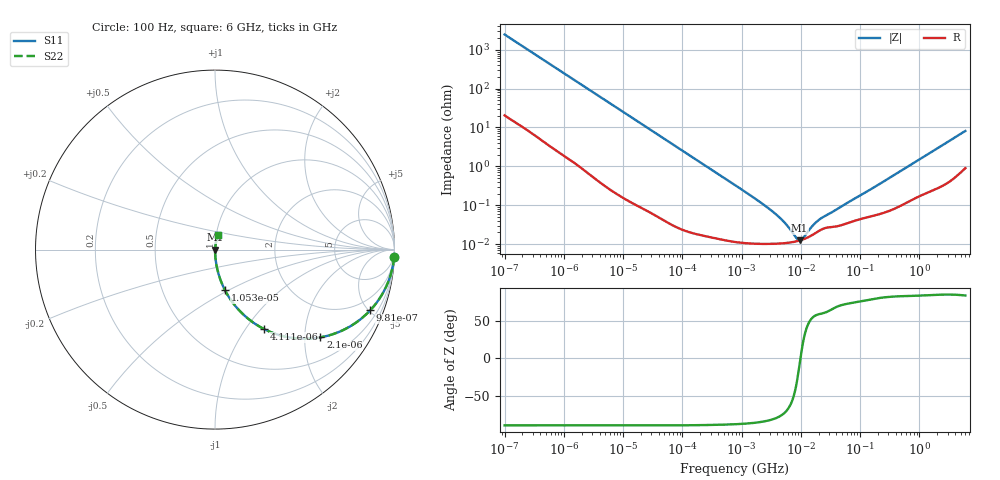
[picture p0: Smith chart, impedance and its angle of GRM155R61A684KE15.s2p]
!Murata Part Number: GRM155R61A684KE15
!These Parameters are Measured in Series Mode Connection
!Data Generated on Mar 30, 2021
!  o--ll--o
!Port1  Port2
!  o------o
!Operation Temp=25[degC], DC Bias Voltage=0[V]
!Freq. Start=100[Hz] Stop=6[GHz] 401[Steps]
# Hz S RI R 50
!Freq.(Hz) S11(Real) S11(Imag) S21(Real) S21(Imag) S12(Real) S12(Imag) S22(Real) S22(Imag)
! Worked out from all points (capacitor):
!   401 points, 100 Hz to 6 GHz, reference 50 ohm
!   read as one part in series: C = 643 nF near 109 Hz
!   lowest |Z| = 12.5 mohm at 9.506 MHz (marker M1)
!   series resonance near 9.874 MHz, so ESL is about 400 pH
!   S11 on the Smith chart (normalised r, x): 100 Hz: 1, -49; 981 Hz: 1.04, -5.09; 2.1 kHz: 1.02, -2.39; 4.111 kHz: 1.01, -1.22; 10.53 kHz: 1.00, -0.48; 6 GHz: 1.02, +0.16
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100  0.998 -0.0404  0.00197 0.0404  0.00197 0.0404  0.998 -0.0404
335  0.9811 -0.132  0.0189 0.132  0.0189 0.132  0.9811 -0.132
600  0.9438 -0.2265  0.0562 0.2265  0.0562 0.2265  0.9438 -0.2265
981  0.8646 -0.3384  0.1354 0.3384  0.1354 0.3384  0.8646 -0.3384
2008  0.6086 -0.4845  0.3914 0.4845  0.3914 0.4845  0.6086 -0.4845
2100  0.5873 -0.4888  0.4127 0.4888  0.4127 0.4888  0.5873 -0.4888
2873  0.4337 -0.4923  0.5663 0.4923  0.5663 0.4923  0.4337 -0.4923
4111  0.2737 -0.4427  0.7263 0.4427  0.7263 0.4427  0.2737 -0.4427
6433  0.1344 -0.3381  0.8656 0.3381  0.8656 0.3381  0.1344 -0.3381
10527  0.0556 -0.226  0.9444 0.226  0.9444 0.226  0.0556 -0.226
19704  0.017 -0.126  0.983 0.126  0.983 0.126  0.017 -0.126
40335  0.00441 -0.0626  0.9956 0.0626  0.9956 0.0626  0.00441 -0.0626
774597  0.000124 -0.00329  0.9999 0.00329  0.9999 0.00329  0.000124 -0.00329
3712478  0.000102 -0.000594  0.9999 0.000594  0.9999 0.000594  0.000102 -0.000594
5554849  0.000106 -0.000315  0.9999 0.000315  0.9999 0.000315  0.000106 -0.000315
8311524  0.000117 -8.92e-05  0.9999 8.92e-05  0.9999 8.92e-05  0.000117 -8.92e-05
9506416  0.000123 -1.94e-05  0.9999 1.94e-05  0.9999 1.94e-05  0.000123 -1.94e-05
1.087309e7  0.000132 4.94e-05  0.9999 -4.94e-05  0.9999 -4.94e-05  0.000132 4.94e-05
1.555665e7  0.00017 0.000232  0.9998 -0.000232  0.9998 -0.000232  0.00017 0.000232
2.327686e7  0.000244 0.00042  0.9998 -0.00042  0.9998 -0.00042  0.000244 0.00042
3.124326e8  0.000739 0.00497  0.9993 -0.00497  0.9993 -0.00497  0.000739 0.00497
6e9  0.0152 0.0788  0.9848 -0.0788  0.9848 -0.0788  0.0152 0.0788
